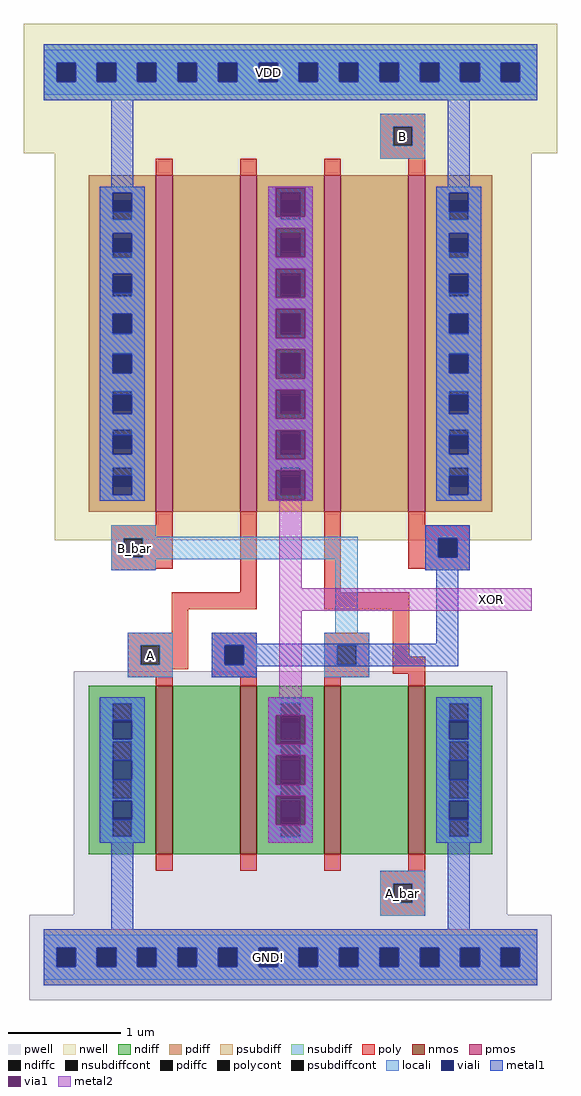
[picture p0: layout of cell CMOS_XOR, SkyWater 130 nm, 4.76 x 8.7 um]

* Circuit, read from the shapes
.subckt CMOS_XOR GND! VDD B A_bar A B_bar XOR
XM1 n1 A GND! GND! sky130_fd_pr__nfet_01v8 w=1.5 l=0.15
XM2 XOR B n1 GND! sky130_fd_pr__nfet_01v8 w=1.5 l=0.15
XM3 n2 B_bar XOR GND! sky130_fd_pr__nfet_01v8 w=1.5 l=0.15
XM4 GND! A_bar n2 GND! sky130_fd_pr__nfet_01v8 w=1.5 l=0.15
XM5 n3 B_bar VDD VDD sky130_fd_pr__pfet_01v8 w=3 l=0.15
XM6 XOR A n3 VDD sky130_fd_pr__pfet_01v8 w=3 l=0.15
XM7 n4 A_bar XOR VDD sky130_fd_pr__pfet_01v8 w=3 l=0.15
XM8 VDD B n4 VDD sky130_fd_pr__pfet_01v8 w=3 l=0.15
.ends

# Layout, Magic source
magic
tech sky130A
magscale 1 2
<< nwell >>
rect -2556 1280 -1604 1510
rect -2500 590 -1650 1280
<< pwell >>
rect -2466 -78 -1694 356
rect -2546 -230 -1614 -78
<< nmos >>
rect -2320 30 -2290 330
rect -2170 30 -2140 330
rect -2020 30 -1990 330
rect -1870 30 -1840 330
<< pmos >>
rect -2320 640 -2290 1240
rect -2170 640 -2140 1240
rect -2020 640 -1990 1240
rect -1870 640 -1840 1240
<< ndiff >>
rect -2440 299 -2320 330
rect -2440 265 -2397 299
rect -2363 265 -2320 299
rect -2440 231 -2320 265
rect -2440 197 -2397 231
rect -2363 197 -2320 231
rect -2440 163 -2320 197
rect -2440 129 -2397 163
rect -2363 129 -2320 163
rect -2440 95 -2320 129
rect -2440 61 -2397 95
rect -2363 61 -2320 95
rect -2440 30 -2320 61
rect -2290 30 -2170 330
rect -2140 299 -2020 330
rect -2140 265 -2097 299
rect -2063 265 -2020 299
rect -2140 231 -2020 265
rect -2140 197 -2097 231
rect -2063 197 -2020 231
rect -2140 163 -2020 197
rect -2140 129 -2097 163
rect -2063 129 -2020 163
rect -2140 95 -2020 129
rect -2140 61 -2097 95
rect -2063 61 -2020 95
rect -2140 30 -2020 61
rect -1990 30 -1870 330
rect -1840 299 -1720 330
rect -1840 265 -1797 299
rect -1763 265 -1720 299
rect -1840 231 -1720 265
rect -1840 197 -1797 231
rect -1763 197 -1720 231
rect -1840 163 -1720 197
rect -1840 129 -1797 163
rect -1763 129 -1720 163
rect -1840 95 -1720 129
rect -1840 61 -1797 95
rect -1763 61 -1720 95
rect -1840 30 -1720 61
<< pdiff >>
rect -2440 1195 -2320 1240
rect -2440 1161 -2397 1195
rect -2363 1161 -2320 1195
rect -2440 1127 -2320 1161
rect -2440 1093 -2397 1127
rect -2363 1093 -2320 1127
rect -2440 1059 -2320 1093
rect -2440 1025 -2397 1059
rect -2363 1025 -2320 1059
rect -2440 991 -2320 1025
rect -2440 957 -2397 991
rect -2363 957 -2320 991
rect -2440 923 -2320 957
rect -2440 889 -2397 923
rect -2363 889 -2320 923
rect -2440 855 -2320 889
rect -2440 821 -2397 855
rect -2363 821 -2320 855
rect -2440 787 -2320 821
rect -2440 753 -2397 787
rect -2363 753 -2320 787
rect -2440 719 -2320 753
rect -2440 685 -2397 719
rect -2363 685 -2320 719
rect -2440 640 -2320 685
rect -2290 640 -2170 1240
rect -2140 1195 -2020 1240
rect -2140 1161 -2097 1195
rect -2063 1161 -2020 1195
rect -2140 1127 -2020 1161
rect -2140 1093 -2097 1127
rect -2063 1093 -2020 1127
rect -2140 1059 -2020 1093
rect -2140 1025 -2097 1059
rect -2063 1025 -2020 1059
rect -2140 991 -2020 1025
rect -2140 957 -2097 991
rect -2063 957 -2020 991
rect -2140 923 -2020 957
rect -2140 889 -2097 923
rect -2063 889 -2020 923
rect -2140 855 -2020 889
rect -2140 821 -2097 855
rect -2063 821 -2020 855
rect -2140 787 -2020 821
rect -2140 753 -2097 787
rect -2063 753 -2020 787
rect -2140 719 -2020 753
rect -2140 685 -2097 719
rect -2063 685 -2020 719
rect -2140 640 -2020 685
rect -1990 640 -1870 1240
rect -1840 1195 -1720 1240
rect -1840 1161 -1797 1195
rect -1763 1161 -1720 1195
rect -1840 1127 -1720 1161
rect -1840 1093 -1797 1127
rect -1763 1093 -1720 1127
rect -1840 1059 -1720 1093
rect -1840 1025 -1797 1059
rect -1763 1025 -1720 1059
rect -1840 991 -1720 1025
rect -1840 957 -1797 991
rect -1763 957 -1720 991
rect -1840 923 -1720 957
rect -1840 889 -1797 923
rect -1763 889 -1720 923
rect -1840 855 -1720 889
rect -1840 821 -1797 855
rect -1763 821 -1720 855
rect -1840 787 -1720 821
rect -1840 753 -1797 787
rect -1763 753 -1720 787
rect -1840 719 -1720 753
rect -1840 685 -1797 719
rect -1763 685 -1720 719
rect -1840 640 -1720 685
<< ndiffc >>
rect -2397 265 -2363 299
rect -2397 197 -2363 231
rect -2397 129 -2363 163
rect -2397 61 -2363 95
rect -2097 265 -2063 299
rect -2097 197 -2063 231
rect -2097 129 -2063 163
rect -2097 61 -2063 95
rect -1797 265 -1763 299
rect -1797 197 -1763 231
rect -1797 129 -1763 163
rect -1797 61 -1763 95
<< pdiffc >>
rect -2397 1161 -2363 1195
rect -2397 1093 -2363 1127
rect -2397 1025 -2363 1059
rect -2397 957 -2363 991
rect -2397 889 -2363 923
rect -2397 821 -2363 855
rect -2397 753 -2363 787
rect -2397 685 -2363 719
rect -2097 1161 -2063 1195
rect -2097 1093 -2063 1127
rect -2097 1025 -2063 1059
rect -2097 957 -2063 991
rect -2097 889 -2063 923
rect -2097 821 -2063 855
rect -2097 753 -2063 787
rect -2097 685 -2063 719
rect -1797 1161 -1763 1195
rect -1797 1093 -1763 1127
rect -1797 1025 -1763 1059
rect -1797 957 -1763 991
rect -1797 889 -1763 923
rect -1797 821 -1763 855
rect -1797 753 -1763 787
rect -1797 685 -1763 719
<< psubdiff >>
rect -2520 -137 -1640 -104
rect -2520 -171 -2497 -137
rect -2463 -171 -2425 -137
rect -2391 -171 -2353 -137
rect -2319 -171 -2281 -137
rect -2247 -171 -2209 -137
rect -2175 -171 -2137 -137
rect -2103 -171 -2065 -137
rect -2031 -171 -1993 -137
rect -1959 -171 -1921 -137
rect -1887 -171 -1849 -137
rect -1815 -171 -1777 -137
rect -1743 -171 -1705 -137
rect -1671 -171 -1640 -137
rect -2520 -204 -1640 -171
<< nsubdiff >>
rect -2520 1441 -1640 1474
rect -2520 1407 -2497 1441
rect -2463 1407 -2425 1441
rect -2391 1407 -2353 1441
rect -2319 1407 -2281 1441
rect -2247 1407 -2209 1441
rect -2175 1407 -2137 1441
rect -2103 1407 -2065 1441
rect -2031 1407 -1993 1441
rect -1959 1407 -1921 1441
rect -1887 1407 -1849 1441
rect -1815 1407 -1777 1441
rect -1743 1407 -1705 1441
rect -1671 1407 -1640 1441
rect -2520 1374 -1640 1407
<< psubdiffcont >>
rect -2497 -171 -2463 -137
rect -2425 -171 -2391 -137
rect -2353 -171 -2319 -137
rect -2281 -171 -2247 -137
rect -2209 -171 -2175 -137
rect -2137 -171 -2103 -137
rect -2065 -171 -2031 -137
rect -1993 -171 -1959 -137
rect -1921 -171 -1887 -137
rect -1849 -171 -1815 -137
rect -1777 -171 -1743 -137
rect -1705 -171 -1671 -137
<< nsubdiffcont >>
rect -2497 1407 -2463 1441
rect -2425 1407 -2391 1441
rect -2353 1407 -2319 1441
rect -2281 1407 -2247 1441
rect -2209 1407 -2175 1441
rect -2137 1407 -2103 1441
rect -2065 1407 -2031 1441
rect -1993 1407 -1959 1441
rect -1921 1407 -1887 1441
rect -1849 1407 -1815 1441
rect -1777 1407 -1743 1441
rect -1705 1407 -1671 1441
<< poly >>
rect -1920 1327 -1840 1350
rect -1920 1293 -1897 1327
rect -1863 1293 -1840 1327
rect -1920 1270 -1840 1293
rect -2320 1240 -2290 1270
rect -2170 1240 -2140 1270
rect -2020 1240 -1990 1270
rect -1870 1240 -1840 1270
rect -2320 616 -2290 640
rect -2400 593 -2290 616
rect -2400 559 -2377 593
rect -2343 559 -2290 593
rect -2400 539 -2290 559
rect -2400 536 -2320 539
rect -2170 497 -2140 640
rect -2292 467 -2140 497
rect -2020 497 -1990 640
rect -1870 616 -1840 640
rect -1870 593 -1760 616
rect -1870 559 -1817 593
rect -1783 559 -1760 593
rect -1870 539 -1760 559
rect -1840 536 -1760 539
rect -2020 467 -1868 497
rect -2292 425 -2262 467
rect -2370 402 -2262 425
rect -2370 368 -2347 402
rect -2313 368 -2262 402
rect -2370 360 -2262 368
rect -2220 402 -2140 425
rect -2220 368 -2197 402
rect -2163 368 -2140 402
rect -2370 345 -2290 360
rect -2220 345 -2140 368
rect -2320 330 -2290 345
rect -2170 330 -2140 345
rect -2020 402 -1940 425
rect -2020 368 -1997 402
rect -1963 368 -1940 402
rect -2020 345 -1940 368
rect -1898 382 -1868 467
rect -1898 352 -1840 382
rect -2020 330 -1990 345
rect -1870 330 -1840 352
rect -2320 0 -2290 30
rect -2170 0 -2140 30
rect -2020 0 -1990 30
rect -1870 0 -1840 30
rect -1920 -23 -1840 0
rect -1920 -57 -1897 -23
rect -1863 -57 -1840 -23
rect -1920 -80 -1840 -57
<< polycont >>
rect -1897 1293 -1863 1327
rect -2377 559 -2343 593
rect -1817 559 -1783 593
rect -2347 368 -2313 402
rect -2197 368 -2163 402
rect -1997 368 -1963 402
rect -1897 -57 -1863 -23
<< locali >>
rect -2520 1441 -1640 1464
rect -2520 1407 -2497 1441
rect -2463 1407 -2425 1441
rect -2391 1407 -2353 1441
rect -2319 1407 -2281 1441
rect -2247 1407 -2209 1441
rect -2175 1407 -2137 1441
rect -2103 1407 -2065 1441
rect -2031 1407 -1993 1441
rect -1959 1407 -1921 1441
rect -1887 1407 -1849 1441
rect -1815 1407 -1777 1441
rect -1743 1407 -1705 1441
rect -1671 1407 -1640 1441
rect -2520 1384 -1640 1407
rect -1920 1327 -1840 1350
rect -1920 1293 -1897 1327
rect -1863 1293 -1840 1327
rect -1920 1270 -1840 1293
rect -2420 1209 -2340 1220
rect -2420 1161 -2397 1209
rect -2363 1161 -2340 1209
rect -2420 1137 -2340 1161
rect -2420 1093 -2397 1137
rect -2363 1093 -2340 1137
rect -2420 1065 -2340 1093
rect -2420 1025 -2397 1065
rect -2363 1025 -2340 1065
rect -2420 993 -2340 1025
rect -2420 957 -2397 993
rect -2363 957 -2340 993
rect -2420 923 -2340 957
rect -2420 887 -2397 923
rect -2363 887 -2340 923
rect -2420 855 -2340 887
rect -2420 815 -2397 855
rect -2363 815 -2340 855
rect -2420 787 -2340 815
rect -2420 743 -2397 787
rect -2363 743 -2340 787
rect -2420 719 -2340 743
rect -2420 671 -2397 719
rect -2363 671 -2340 719
rect -2420 660 -2340 671
rect -2120 1209 -2040 1220
rect -2120 1161 -2097 1209
rect -2063 1161 -2040 1209
rect -2120 1137 -2040 1161
rect -2120 1093 -2097 1137
rect -2063 1093 -2040 1137
rect -2120 1065 -2040 1093
rect -2120 1025 -2097 1065
rect -2063 1025 -2040 1065
rect -2120 993 -2040 1025
rect -2120 957 -2097 993
rect -2063 957 -2040 993
rect -2120 923 -2040 957
rect -2120 887 -2097 923
rect -2063 887 -2040 923
rect -2120 855 -2040 887
rect -2120 815 -2097 855
rect -2063 815 -2040 855
rect -2120 787 -2040 815
rect -2120 743 -2097 787
rect -2063 743 -2040 787
rect -2120 719 -2040 743
rect -2120 671 -2097 719
rect -2063 671 -2040 719
rect -2120 660 -2040 671
rect -1820 1209 -1740 1220
rect -1820 1161 -1797 1209
rect -1763 1161 -1740 1209
rect -1820 1137 -1740 1161
rect -1820 1093 -1797 1137
rect -1763 1093 -1740 1137
rect -1820 1065 -1740 1093
rect -1820 1025 -1797 1065
rect -1763 1025 -1740 1065
rect -1820 993 -1740 1025
rect -1820 957 -1797 993
rect -1763 957 -1740 993
rect -1820 923 -1740 957
rect -1820 887 -1797 923
rect -1763 887 -1740 923
rect -1820 855 -1740 887
rect -1820 815 -1797 855
rect -1763 815 -1740 855
rect -1820 787 -1740 815
rect -1820 743 -1797 787
rect -1763 743 -1740 787
rect -1820 719 -1740 743
rect -1820 671 -1797 719
rect -1763 671 -1740 719
rect -1820 660 -1740 671
rect -2400 596 -2320 616
rect -2400 593 -1960 596
rect -2400 559 -2377 593
rect -2343 559 -1960 593
rect -2400 556 -1960 559
rect -2400 536 -2320 556
rect -2000 425 -1960 556
rect -1840 593 -1760 616
rect -1840 559 -1817 593
rect -1783 559 -1760 593
rect -1840 536 -1760 559
rect -2370 402 -2290 425
rect -2370 368 -2347 402
rect -2313 368 -2290 402
rect -2370 345 -2290 368
rect -2220 402 -2140 425
rect -2220 368 -2197 402
rect -2163 368 -2140 402
rect -2220 345 -2140 368
rect -2020 402 -1940 425
rect -2020 368 -1997 402
rect -1963 368 -1940 402
rect -2020 345 -1940 368
rect -2420 299 -2340 310
rect -2420 235 -2397 299
rect -2363 235 -2340 299
rect -2420 231 -2340 235
rect -2420 129 -2397 231
rect -2363 129 -2340 231
rect -2420 125 -2340 129
rect -2420 61 -2397 125
rect -2363 61 -2340 125
rect -2420 50 -2340 61
rect -2120 299 -2040 310
rect -2120 235 -2097 299
rect -2063 235 -2040 299
rect -2120 231 -2040 235
rect -2120 129 -2097 231
rect -2063 129 -2040 231
rect -2120 125 -2040 129
rect -2120 61 -2097 125
rect -2063 61 -2040 125
rect -2120 50 -2040 61
rect -1820 299 -1740 310
rect -1820 235 -1797 299
rect -1763 235 -1740 299
rect -1820 231 -1740 235
rect -1820 129 -1797 231
rect -1763 129 -1740 231
rect -1820 125 -1740 129
rect -1820 61 -1797 125
rect -1763 61 -1740 125
rect -1820 50 -1740 61
rect -1920 -23 -1840 0
rect -1920 -57 -1897 -23
rect -1863 -57 -1840 -23
rect -1920 -80 -1840 -57
rect -2520 -137 -1640 -114
rect -2520 -171 -2497 -137
rect -2463 -171 -2425 -137
rect -2391 -171 -2353 -137
rect -2319 -171 -2281 -137
rect -2247 -171 -2209 -137
rect -2175 -171 -2137 -137
rect -2103 -171 -2065 -137
rect -2031 -171 -1993 -137
rect -1959 -171 -1921 -137
rect -1887 -171 -1849 -137
rect -1815 -171 -1777 -137
rect -1743 -171 -1705 -137
rect -1671 -171 -1640 -137
rect -2520 -194 -1640 -171
<< viali >>
rect -2497 1407 -2463 1441
rect -2425 1407 -2391 1441
rect -2353 1407 -2319 1441
rect -2281 1407 -2247 1441
rect -2209 1407 -2175 1441
rect -2137 1407 -2103 1441
rect -2065 1407 -2031 1441
rect -1993 1407 -1959 1441
rect -1921 1407 -1887 1441
rect -1849 1407 -1815 1441
rect -1777 1407 -1743 1441
rect -1705 1407 -1671 1441
rect -2397 1195 -2363 1209
rect -2397 1175 -2363 1195
rect -2397 1127 -2363 1137
rect -2397 1103 -2363 1127
rect -2397 1059 -2363 1065
rect -2397 1031 -2363 1059
rect -2397 991 -2363 993
rect -2397 959 -2363 991
rect -2397 889 -2363 921
rect -2397 887 -2363 889
rect -2397 821 -2363 849
rect -2397 815 -2363 821
rect -2397 753 -2363 777
rect -2397 743 -2363 753
rect -2397 685 -2363 705
rect -2397 671 -2363 685
rect -2097 1195 -2063 1209
rect -2097 1175 -2063 1195
rect -2097 1127 -2063 1137
rect -2097 1103 -2063 1127
rect -2097 1059 -2063 1065
rect -2097 1031 -2063 1059
rect -2097 991 -2063 993
rect -2097 959 -2063 991
rect -2097 889 -2063 921
rect -2097 887 -2063 889
rect -2097 821 -2063 849
rect -2097 815 -2063 821
rect -2097 753 -2063 777
rect -2097 743 -2063 753
rect -2097 685 -2063 705
rect -2097 671 -2063 685
rect -1797 1195 -1763 1209
rect -1797 1175 -1763 1195
rect -1797 1127 -1763 1137
rect -1797 1103 -1763 1127
rect -1797 1059 -1763 1065
rect -1797 1031 -1763 1059
rect -1797 991 -1763 993
rect -1797 959 -1763 991
rect -1797 889 -1763 921
rect -1797 887 -1763 889
rect -1797 821 -1763 849
rect -1797 815 -1763 821
rect -1797 753 -1763 777
rect -1797 743 -1763 753
rect -1797 685 -1763 705
rect -1797 671 -1763 685
rect -1817 559 -1783 593
rect -2197 368 -2163 402
rect -2397 265 -2363 269
rect -2397 235 -2363 265
rect -2397 163 -2363 197
rect -2397 95 -2363 125
rect -2397 91 -2363 95
rect -2097 265 -2063 269
rect -2097 235 -2063 265
rect -2097 163 -2063 197
rect -2097 95 -2063 125
rect -2097 91 -2063 95
rect -1797 265 -1763 269
rect -1797 235 -1763 265
rect -1797 163 -1763 197
rect -1797 95 -1763 125
rect -1797 91 -1763 95
rect -2497 -171 -2463 -137
rect -2425 -171 -2391 -137
rect -2353 -171 -2319 -137
rect -2281 -171 -2247 -137
rect -2209 -171 -2175 -137
rect -2137 -171 -2103 -137
rect -2065 -171 -2031 -137
rect -1993 -171 -1959 -137
rect -1921 -171 -1887 -137
rect -1849 -171 -1815 -137
rect -1777 -171 -1743 -137
rect -1705 -171 -1671 -137
<< metal1 >>
rect -2520 1441 -1640 1474
rect -2520 1407 -2497 1441
rect -2463 1407 -2425 1441
rect -2391 1407 -2353 1441
rect -2319 1407 -2281 1441
rect -2247 1407 -2209 1441
rect -2175 1407 -2137 1441
rect -2103 1407 -2065 1441
rect -2031 1407 -1993 1441
rect -1959 1407 -1921 1441
rect -1887 1407 -1849 1441
rect -1815 1407 -1777 1441
rect -1743 1407 -1705 1441
rect -1671 1407 -1640 1441
rect -2520 1374 -1640 1407
rect -2400 1220 -2360 1374
rect -1800 1220 -1760 1374
rect -2420 1209 -2340 1220
rect -2420 1175 -2397 1209
rect -2363 1175 -2340 1209
rect -2420 1137 -2340 1175
rect -2420 1103 -2397 1137
rect -2363 1103 -2340 1137
rect -2420 1065 -2340 1103
rect -2420 1031 -2397 1065
rect -2363 1031 -2340 1065
rect -2420 993 -2340 1031
rect -2420 959 -2397 993
rect -2363 959 -2340 993
rect -2420 921 -2340 959
rect -2420 887 -2397 921
rect -2363 887 -2340 921
rect -2420 849 -2340 887
rect -2420 815 -2397 849
rect -2363 815 -2340 849
rect -2420 777 -2340 815
rect -2420 743 -2397 777
rect -2363 743 -2340 777
rect -2420 705 -2340 743
rect -2420 671 -2397 705
rect -2363 671 -2340 705
rect -2420 660 -2340 671
rect -2120 1218 -2040 1220
rect -2120 1166 -2106 1218
rect -2054 1166 -2040 1218
rect -2120 1146 -2040 1166
rect -2120 1094 -2106 1146
rect -2054 1094 -2040 1146
rect -2120 1074 -2040 1094
rect -2120 1022 -2106 1074
rect -2054 1022 -2040 1074
rect -2120 1002 -2040 1022
rect -2120 950 -2106 1002
rect -2054 950 -2040 1002
rect -2120 930 -2040 950
rect -2120 878 -2106 930
rect -2054 878 -2040 930
rect -2120 858 -2040 878
rect -2120 806 -2106 858
rect -2054 806 -2040 858
rect -2120 786 -2040 806
rect -2120 734 -2106 786
rect -2054 734 -2040 786
rect -2120 714 -2040 734
rect -2120 662 -2106 714
rect -2054 662 -2040 714
rect -2120 660 -2040 662
rect -1820 1209 -1740 1220
rect -1820 1175 -1797 1209
rect -1763 1175 -1740 1209
rect -1820 1137 -1740 1175
rect -1820 1103 -1797 1137
rect -1763 1103 -1740 1137
rect -1820 1065 -1740 1103
rect -1820 1031 -1797 1065
rect -1763 1031 -1740 1065
rect -1820 993 -1740 1031
rect -1820 959 -1797 993
rect -1763 959 -1740 993
rect -1820 921 -1740 959
rect -1820 887 -1797 921
rect -1763 887 -1740 921
rect -1820 849 -1740 887
rect -1820 815 -1797 849
rect -1763 815 -1740 849
rect -1820 777 -1740 815
rect -1820 743 -1797 777
rect -1763 743 -1740 777
rect -1820 705 -1740 743
rect -1820 671 -1797 705
rect -1763 671 -1740 705
rect -1820 660 -1740 671
rect -1840 593 -1760 616
rect -1840 559 -1817 593
rect -1783 559 -1760 593
rect -1840 536 -1760 559
rect -2220 405 -2140 425
rect -1820 405 -1781 536
rect -2220 402 -1781 405
rect -2220 368 -2197 402
rect -2163 368 -1781 402
rect -2220 365 -1781 368
rect -2220 345 -2140 365
rect -2420 269 -2340 310
rect -2420 235 -2397 269
rect -2363 235 -2340 269
rect -2420 197 -2340 235
rect -2420 163 -2397 197
rect -2363 163 -2340 197
rect -2420 125 -2340 163
rect -2420 91 -2397 125
rect -2363 91 -2340 125
rect -2420 50 -2340 91
rect -2120 278 -2040 310
rect -2120 226 -2106 278
rect -2054 226 -2040 278
rect -2120 206 -2040 226
rect -2120 154 -2106 206
rect -2054 154 -2040 206
rect -2120 134 -2040 154
rect -2120 82 -2106 134
rect -2054 82 -2040 134
rect -2120 50 -2040 82
rect -1820 269 -1740 310
rect -1820 235 -1797 269
rect -1763 235 -1740 269
rect -1820 197 -1740 235
rect -1820 163 -1797 197
rect -1763 163 -1740 197
rect -1820 125 -1740 163
rect -1820 91 -1797 125
rect -1763 91 -1740 125
rect -1820 50 -1740 91
rect -2400 -104 -2360 50
rect -1800 -104 -1760 50
rect -2520 -137 -1640 -104
rect -2520 -171 -2497 -137
rect -2463 -171 -2425 -137
rect -2391 -171 -2353 -137
rect -2319 -171 -2281 -137
rect -2247 -171 -2209 -137
rect -2175 -171 -2137 -137
rect -2103 -171 -2065 -137
rect -2031 -171 -1993 -137
rect -1959 -171 -1921 -137
rect -1887 -171 -1849 -137
rect -1815 -171 -1777 -137
rect -1743 -171 -1705 -137
rect -1671 -171 -1640 -137
rect -2520 -204 -1640 -171
<< via1 >>
rect -2106 1209 -2054 1218
rect -2106 1175 -2097 1209
rect -2097 1175 -2063 1209
rect -2063 1175 -2054 1209
rect -2106 1166 -2054 1175
rect -2106 1137 -2054 1146
rect -2106 1103 -2097 1137
rect -2097 1103 -2063 1137
rect -2063 1103 -2054 1137
rect -2106 1094 -2054 1103
rect -2106 1065 -2054 1074
rect -2106 1031 -2097 1065
rect -2097 1031 -2063 1065
rect -2063 1031 -2054 1065
rect -2106 1022 -2054 1031
rect -2106 993 -2054 1002
rect -2106 959 -2097 993
rect -2097 959 -2063 993
rect -2063 959 -2054 993
rect -2106 950 -2054 959
rect -2106 921 -2054 930
rect -2106 887 -2097 921
rect -2097 887 -2063 921
rect -2063 887 -2054 921
rect -2106 878 -2054 887
rect -2106 849 -2054 858
rect -2106 815 -2097 849
rect -2097 815 -2063 849
rect -2063 815 -2054 849
rect -2106 806 -2054 815
rect -2106 777 -2054 786
rect -2106 743 -2097 777
rect -2097 743 -2063 777
rect -2063 743 -2054 777
rect -2106 734 -2054 743
rect -2106 705 -2054 714
rect -2106 671 -2097 705
rect -2097 671 -2063 705
rect -2063 671 -2054 705
rect -2106 662 -2054 671
rect -2106 269 -2054 278
rect -2106 235 -2097 269
rect -2097 235 -2063 269
rect -2063 235 -2054 269
rect -2106 226 -2054 235
rect -2106 197 -2054 206
rect -2106 163 -2097 197
rect -2097 163 -2063 197
rect -2063 163 -2054 197
rect -2106 154 -2054 163
rect -2106 125 -2054 134
rect -2106 91 -2097 125
rect -2097 91 -2063 125
rect -2063 91 -2054 125
rect -2106 82 -2054 91
<< metal2 >>
rect -2120 1218 -2040 1220
rect -2120 1166 -2106 1218
rect -2054 1166 -2040 1218
rect -2120 1146 -2040 1166
rect -2120 1094 -2106 1146
rect -2054 1094 -2040 1146
rect -2120 1074 -2040 1094
rect -2120 1022 -2106 1074
rect -2054 1022 -2040 1074
rect -2120 1002 -2040 1022
rect -2120 950 -2106 1002
rect -2054 950 -2040 1002
rect -2120 930 -2040 950
rect -2120 878 -2106 930
rect -2054 878 -2040 930
rect -2120 858 -2040 878
rect -2120 806 -2106 858
rect -2054 806 -2040 858
rect -2120 786 -2040 806
rect -2120 734 -2106 786
rect -2054 734 -2040 786
rect -2120 714 -2040 734
rect -2120 662 -2106 714
rect -2054 662 -2040 714
rect -2120 660 -2040 662
rect -2100 504 -2060 660
rect -2100 464 -1650 504
rect -2100 310 -2060 464
rect -2120 278 -2040 310
rect -2120 226 -2106 278
rect -2054 226 -2040 278
rect -2120 206 -2040 226
rect -2120 154 -2106 206
rect -2054 154 -2040 206
rect -2120 134 -2040 154
rect -2120 82 -2106 134
rect -2054 82 -2040 134
rect -2120 50 -2040 82
<< labels >>
rlabel metal1 s -2140 -174 -2100 -134 4 GND!
port 1 nsew
rlabel metal1 s -2140 1404 -2100 1444 4 VDD
port 2 nsew
flabel locali s -1897 1293 -1863 1327 2 FreeSans 2500 0 0 0 B
port 3 nsew
flabel locali s -1897 -57 -1863 -23 2 FreeSans 2500 0 0 0 A_bar
port 4 nsew
flabel locali s -2347 368 -2313 402 2 FreeSans 2500 0 0 0 A
port 5 nsew
rlabel locali s -2383 551 -2334 598 4 B_bar
port 6 nsew
flabel metal2 s -1740 466 -1704 502 2 FreeSans 2500 0 0 0 XOR
port 7 nsew
<< end >>
